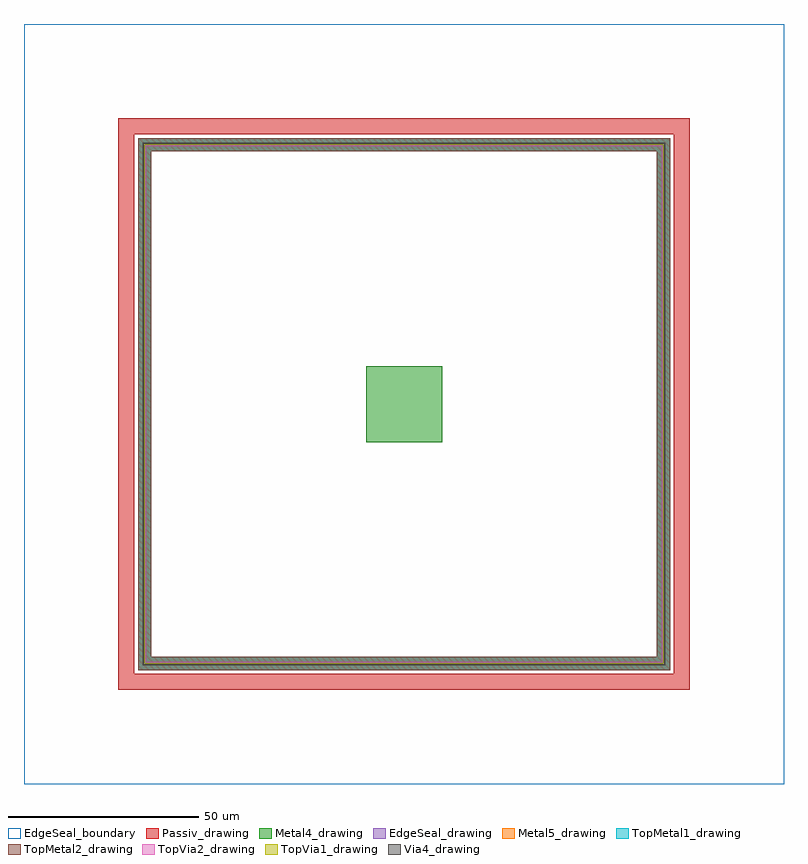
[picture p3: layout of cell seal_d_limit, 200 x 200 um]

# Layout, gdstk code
import gdstk
lib = gdstk.Library(unit=1e-6, precision=1e-09)
def R(c, l, rs):  # rectangles x0, y0, x1, y1
    for r in rs: c.add(gdstk.rectangle(r[:2], r[2:], *l))
def P(c, l, *ps):  # polygons
    for p in ps: c.add(gdstk.Polygon(p, *l))
Passiv_drawing = (9, 0)
EdgeSeal_drawing = (39, 0)
EdgeSeal_boundary = (39, 4)
Metal4_drawing = (50, 0)
Via4_drawing = (66, 0)
Metal5_drawing = (67, 0)
TopVia1_drawing = (125, 0)
TopMetal1_drawing = (126, 0)
TopVia2_drawing = (133, 0)
TopMetal2_drawing = (134, 0)

seal_d_limit = lib.new_cell('seal_d_limit')
P(seal_d_limit, Passiv_drawing, [(24.8,24.8),(24.8,171),(29,171),(29,29),(171,29),(171,171),(24.8,171),(24.8,175.2),(175.2,175.2),(175.2,24.8)])
P(seal_d_limit, EdgeSeal_drawing, [(30,30),(30,166.5),(33.5,166.5),(33.5,33.5),(166.5,33.5),(166.5,166.5),(30,166.5),(30,170),(170,170),(170,30)])
R(seal_d_limit, EdgeSeal_boundary, [(0,0,200,200)])
R(seal_d_limit, Metal4_drawing, [(90,90,110,110)])
P(seal_d_limit, Metal4_drawing, [(30,30),(30,166.5),(33.5,166.5),(33.5,33.5),(166.5,33.5),(166.5,166.5),(30,166.5),(30,170),(170,170),(170,30)])
P(seal_d_limit, Via4_drawing, [(31.3,31.3),(31.3,168.51),(31.49,168.51),(31.49,31.49),(168.51,31.49),(168.51,168.51),(31.3,168.51),(31.3,168.7),(168.7,168.7),(168.7,31.3)])
P(seal_d_limit, Metal5_drawing, [(30,30),(30,166.5),(33.5,166.5),(33.5,33.5),(166.5,33.5),(166.5,166.5),(30,166.5),(30,170),(170,170),(170,30)])
P(seal_d_limit, TopVia1_drawing, [(31.3,31.3),(31.3,168.28),(31.72,168.28),(31.72,31.72),(168.28,31.72),(168.28,168.28),(31.3,168.28),(31.3,168.7),(168.7,168.7),(168.7,31.3)])
P(seal_d_limit, TopMetal1_drawing, [(30,30),(30,166.5),(33.5,166.5),(33.5,33.5),(166.5,33.5),(166.5,166.5),(30,166.5),(30,170),(170,170),(170,30)])
P(seal_d_limit, TopVia2_drawing, [(31.3,31.3),(31.3,167.8),(32.2,167.8),(32.2,32.2),(167.8,32.2),(167.8,167.8),(31.3,167.8),(31.3,168.7),(168.7,168.7),(168.7,31.3)])
P(seal_d_limit, TopMetal2_drawing, [(30,30),(30,166.5),(33.5,166.5),(33.5,33.5),(166.5,33.5),(166.5,166.5),(30,166.5),(30,170),(170,170),(170,30)])

lib.write_gds('seal_d_limit.gds')
